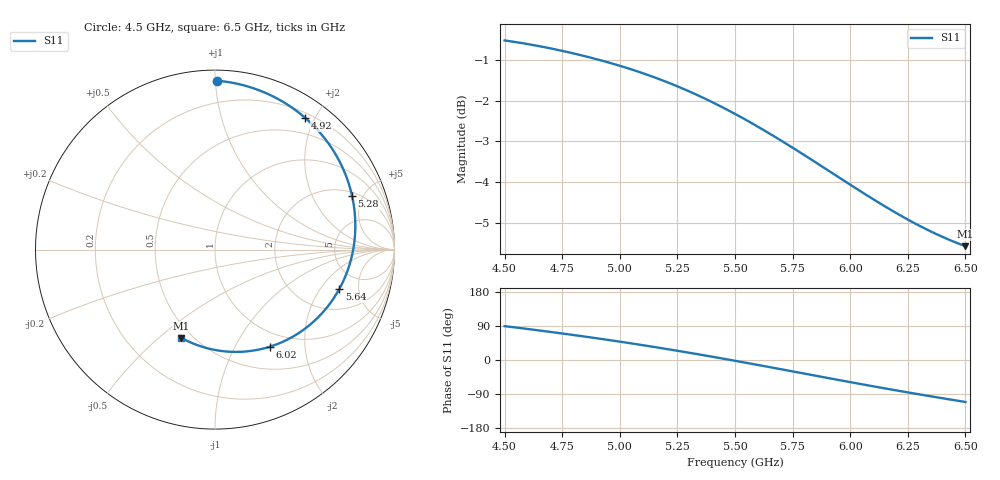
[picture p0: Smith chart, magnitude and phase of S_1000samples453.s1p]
! TOUCHSTONE file generated by CST MICROWAVE STUDIO
! Date and time: Fri Oct 28 05:33:22 2022
! Project name: L.cst
! Parameters = {Di=1.27; Epsilon_r=1.56; InnerDiameter=1.27; Length=2; Lf=10; Lg=60; OuterConductorThickness=0.2921; OuterDiameter=3.6; Wf=3; Wp=41.2; de=1.5; df=6.8; g=0.8; gx=1.56412; gy=3.55949; h=2.34; hf=1.524; px=9.70985; py=12.0901; w=9.7; wx=8.14573; wy=8.53064}
! Header version: 2018
! Port assignment regex: !\s*Touchstone port\s*([0-9]+)\s*=\s*(CST MWS port|CST DS port)\s*([0-9]+|Zmin|Zmax)\s*\(\"(.*)\"\)(\s*mode\s*([0-9]+))?.*
! Touchstone port assignment:
! Touchstone port 1 = CST MWS port 1 ("")
# GHz S DB R 50
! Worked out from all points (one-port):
!   101 points, 4.5 GHz to 6.5 GHz, reference 50 ohm
!   lowest |S11| = -5.6 dB at 6.5 GHz (marker M1), VSWR 3.22, Z = 21.9 - j29.8 ohm
!   |S11| at or under -10 dB: nowhere
!   S11 on the Smith chart (normalised r, x): 4.5 GHz: 0.06, +1.01; 4.92 GHz: 0.27, +1.87; 5.28 GHz: 2.27, +4.12; 5.64 GHz: 3.30, -3.07; 6.02 GHz: 0.79, -1.39; 6.5 GHz: 0.44, -0.60
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4.5  -0.53 89.3
4.58  -0.60 83.3
4.64  -0.66 78.7
4.76  -0.79 69.1
4.84  -0.90 62.5
4.92  -1.02 55.6
5  -1.15 48.4
5.08  -1.29 41.0
5.14  -1.41 35.3
5.2  -1.54 29.4
5.26  -1.68 23.3
5.28  -1.72 21.3
5.34  -1.88 15.1
5.4  -2.04 8.8
5.5  -2.33 -2.1
5.56  -2.51 -8.7
5.64  -2.78 -17.6
5.76  -3.19 -31.2
5.82  -3.41 -38.0
5.88  -3.62 -44.9
5.94  -3.84 -51.6
6  -4.06 -58.4
6.02  -4.13 -60.6
6.08  -4.35 -67.2
6.14  -4.56 -73.8
6.26  -4.95 -86.5
6.38  -5.29 -98.8
6.5  -5.57 -110.8
